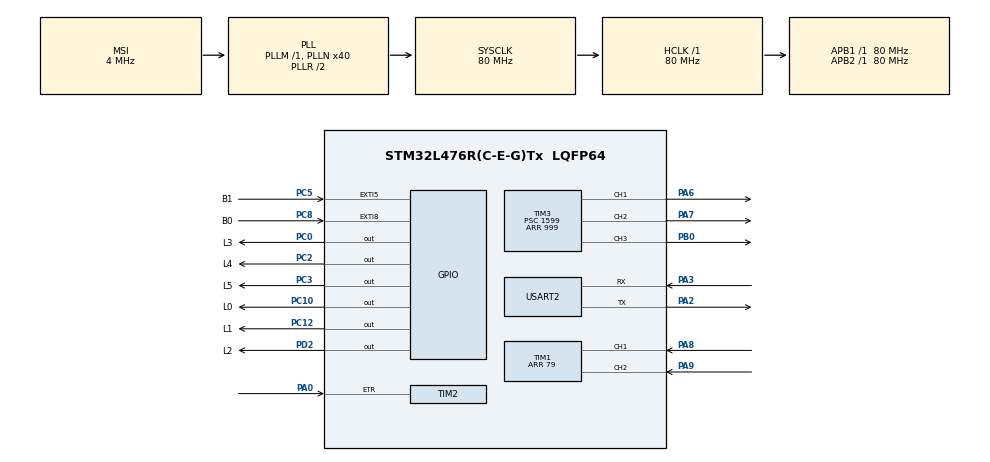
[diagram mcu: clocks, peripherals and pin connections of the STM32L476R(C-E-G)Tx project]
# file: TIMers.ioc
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Mcu.Family=STM32L4
Mcu.Name=STM32L476R(C-E-G)Tx
Mcu.Package=LQFP64
NVIC.EXTI9_5_IRQn=true\:1\:0\:true\:false\:true\:true\:true\:true
NVIC.PriorityGroup=NVIC_PRIORITYGROUP_4
NVIC.TIM6_DAC_IRQn=true\:0\:0\:false\:false\:true\:true\:true\:true
NVIC.USART2_IRQn=true\:1\:0\:true\:false\:true\:true\:true\:true
PA0.Signal=S_TIM2_ETR
PA13\ (JTMS-SWDIO).Mode=Serial_Wire
PA13\ (JTMS-SWDIO).Signal=SYS_JTMS-SWDIO
PA14\ (JTCK-SWCLK).Mode=Serial_Wire
PA14\ (JTCK-SWCLK).Signal=SYS_JTCK-SWCLK
PA2.Mode=Asynchronous
PA2.Signal=USART2_TX
PA3.Mode=Asynchronous
PA3.Signal=USART2_RX
PA6.Signal=S_TIM3_CH1
PA7.Signal=S_TIM3_CH2
PA8.Signal=S_TIM1_CH1
PA9.Signal=S_TIM1_CH2
PB0.Signal=S_TIM3_CH3
PC0.GPIO_Label=L3
PC0.Signal=GPIO_Output
PC10.GPIO_Label=L0
PC10.Signal=GPIO_Output
PC12.GPIO_Label=L1
PC12.Signal=GPIO_Output
PC14-OSC32_IN\ (PC14).Mode=LSE-External-Oscillator
PC14-OSC32_IN\ (PC14).Signal=RCC_OSC32_IN
PC15-OSC32_OUT\ (PC15).Mode=LSE-External-Oscillator
PC15-OSC32_OUT\ (PC15).Signal=RCC_OSC32_OUT
PC2.GPIO_Label=L4
PC2.Signal=GPIO_Output
PC3.GPIO_Label=L5
PC3.Signal=GPIO_Output
PC5.GPIO_Label=B1
PC5.GPIO_PuPd=GPIO_PULLDOWN
PC5.Signal=GPXTI5
PC8.GPIO_Label=B0
PC8.GPIO_ModeDefaultEXTI=GPIO_MODE_IT_FALLING
PC8.GPIO_PuPd=GPIO_PULLUP
PC8.Signal=GPXTI8
PD2.GPIO_Label=L2
PD2.Signal=GPIO_Output
ProjectManager.HeapSize=0x200
ProjectManager.StackSize=0x400
ProjectManager.TargetToolchain=STM32CubeIDE
RCC.AHBFreq_Value=80000000
RCC.APB1Freq_Value=80000000
RCC.APB1TimFreq_Value=80000000
RCC.APB2Freq_Value=80000000
RCC.APB2TimFreq_Value=80000000
RCC.CortexFreq_Value=80000000
RCC.HCLKFreq_Value=80000000
RCC.HSE_VALUE=8000000
RCC.HSI_VALUE=16000000
RCC.MSI_VALUE=4000000
RCC.PLLN=40
RCC.SYSCLKFreq_VALUE=80000000
RCC.SYSCLKSource=RCC_SYSCLKSOURCE_PLLCLK
RCC.VCOOutputFreq_Value=160000000
SH.S_TIM1_CH1.0=TIM1_CH1,Encoder_Interface
SH.S_TIM1_CH2.0=TIM1_CH2,Encoder_Interface
SH.S_TIM2_ETR.0=TIM2_ETR,ClockSourceETR_Mode2
SH.S_TIM3_CH1.0=TIM3_CH1,PWM Generation1 CH1
SH.S_TIM3_CH2.0=TIM3_CH2,PWM Generation2 CH2
SH.S_TIM3_CH3.0=TIM3_CH3,PWM Generation3 CH3
TIM1.EncoderMode=TIM_ENCODERMODE_TI12
TIM1.IC2Polarity=TIM_ICPOLARITY_RISING
TIM1.Period=79
TIM2.ClockFilter=15
TIM3.Channel-PWM\ Generation1\ CH1=TIM_CHANNEL_1
TIM3.Channel-PWM\ Generation2\ CH2=TIM_CHANNEL_2
TIM3.Channel-PWM\ Generation3\ CH3=TIM_CHANNEL_3
TIM3.OCPolarity_1=TIM_OCPOLARITY_LOW
TIM3.OCPolarity_2=TIM_OCPOLARITY_LOW
TIM3.OCPolarity_3=TIM_OCPOLARITY_LOW
TIM3.Period=999
TIM3.Prescaler=1599
TIM3.Pulse-PWM\ Generation1\ CH1=899
TIM3.Pulse-PWM\ Generation2\ CH2=777
TIM3.Pulse-PWM\ Generation3\ CH3=199
TIM6.Period=1599
TIM6.Prescaler=9999
USART2.VirtualMode-Asynchronous=VM_ASYNC
VP_TIM3_VS_ClockSourceINT.Mode=Internal
VP_TIM6_VS_ClockSourceINT.Mode=Enable_Timer
board=custom

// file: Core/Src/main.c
/* USER CODE BEGIN Header */
/**
  ******************************************************************************
  * @file           : main.c
  * @brief          : Main program body
  ******************************************************************************
  * @attention
  *
  * Copyright (c) 2023 STMicroelectronics.
  * All rights reserved.
  *
  * This software is licensed under terms that can be found in the LICENSE file
  * in the root directory of this software component.
  * If no LICENSE file comes with this software, it is provided AS-IS.
  *
  ******************************************************************************
  */
/* USER CODE END Header */
#include "main.h"

/* USER CODE BEGIN Includes */
#include <string.h>
#include <stdio.h>
#include <stdlib.h>
#include <stdint.h>
#include <math.h>

#include "MYLIB_Uart.h"
#include "MYLIB_Gpio.h"
/* USER CODE END Includes */

/* USER CODE BEGIN PD */
struct encoder_t
{
	uint16_t angle;
	uint16_t prev_angle;
	TIM_HandleTypeDef* htim;
};
/* USER CODE END PD */

TIM_HandleTypeDef htim1;
TIM_HandleTypeDef htim2;
TIM_HandleTypeDef htim3;
TIM_HandleTypeDef htim6;

UART_HandleTypeDef huart2;

/* USER CODE BEGIN PV */
volatile struct encoder_t currEncoderT1 = {.angle = 0, .prev_angle = 0, .htim = &htim1};

// MYLIB_Uart
static struct MYLIB_UartInstance MYLIB_uart2;

/* USER CODE END PV */

void SystemClock_Config(void);
static void MX_GPIO_Init(void);
static void MX_USART2_UART_Init(void);
static void MX_TIM3_Init(void);
static void MX_TIM6_Init(void);
static void MX_TIM2_Init(void);
static void MX_TIM1_Init(void);

/* USER CODE BEGIN 0 */
volatile unsigned char RGB_RedFactor = 0;
volatile unsigned char RGB_GreenFactor = 0;
volatile unsigned char RGB_BlueFactor = 0;
volatile unsigned char RGB_Counter = 0;

void RGB_CalcFactors(volatile unsigned char counter, volatile unsigned char* red, volatile unsigned char* green, volatile unsigned char* blue)
{
	*red = 50*(1.0f + sin((float)counter * 3.14/180.0));
	*green = 50*(1.0f + sin(1.0f + (float)counter * 3.14/180.0));
	*blue = 50*(1.0f + sin(2.0f + (float)counter * 3.14/180.0));
}

float RGB_CalcCompare(volatile unsigned char val)
{
	if(val < 70)
		return ((float)val/100.0 * 900.0)/2;
	else
		return ((float)val/100.0 * 900.0);

}

uint16_t t2Counter = 0;
uint16_t prevT2Counter = 0;

/* USER CODE END 0 */

int main(void)
{

  /* MCU Configuration--------------------------------------------------------*/

  /* Reset of all peripherals, Initializes the Flash interface and the Systick. */
  HAL_Init();

  /* Configure the system clock */
  SystemClock_Config();

  /* Initialize all configured peripherals */
  MX_GPIO_Init();
  MX_USART2_UART_Init();
  MX_TIM3_Init();
  MX_TIM6_Init();
  MX_TIM2_Init();
  MX_TIM1_Init();
  /* USER CODE BEGIN 2 */
  // DIODES
  for(int i = 0; i<NO_OF_DIODES; i++)
  {
	MYLIB_GpioDigOut_Set(i);
	HAL_Delay(250);
  }
  HAL_Delay(100);
  MYLIB_GpioDigOut_ResetAll();
  HAL_Delay(100);
  MYLIB_GpioDigOut_SetAll();
  HAL_Delay(150);
  MYLIB_GpioDigOut_ResetAll();
  HAL_Delay(100);
  MYLIB_GpioDigOut_SetAll();
  HAL_Delay(150);
  MYLIB_GpioDigOut_ResetAll();
  HAL_Delay(100);
  MYLIB_GpioDigOut_SetAll();
  HAL_Delay(150);
  MYLIB_GpioDigOut_ResetAll();
  HAL_Delay(100);
  MYLIB_GpioDigOut_Set(0);

  // MYLIB_Uart Code
  MYLIB_UartInstance_Init(&MYLIB_uart2);
  HAL_UART_Receive_IT(&huart2, MYLIB_uart2.rxBuffer + MYLIB_uart2.rxBufferIndex, 1);
  HAL_UART_Transmit_IT(&huart2, (unsigned char*)"Hello World!\r\n", strlen("Hello World!\r\n"));

  // TIM1
  HAL_TIM_IC_Start(&htim1, TIM_CHANNEL_1);
  HAL_TIM_IC_Start(&htim1, TIM_CHANNEL_2);

  // init TIM6
  __HAL_TIM_SET_COUNTER(&htim6, 0);
  HAL_TIM_Base_Start_IT(&htim6);

  // init TIM3
  __HAL_TIM_SET_COUNTER(&htim3, 0);
  HAL_TIM_Base_Start(&htim3);
  HAL_TIM_PWM_Start(&htim3, TIM_CHANNEL_1);
  HAL_TIM_PWM_Start(&htim3, TIM_CHANNEL_2);
  HAL_TIM_PWM_Start(&htim3, TIM_CHANNEL_3);

  // init TIM2
  HAL_TIM_Base_Start(&htim2);

  /* USER CODE END 2 */

  /* Infinite loop */
  while (1)
  {

    /* USER CODE BEGIN 3 */
	  t2Counter = __HAL_TIM_GET_COUNTER(&htim2);
	  if(t2Counter != prevT2Counter)
	  {
		  prevT2Counter = t2Counter;
		  char line[8];
		  sprintf(line, "%d\0", t2Counter);
		  MYLIB_Uart_MoveToTransmitter(&huart2, &MYLIB_uart2, line, strlen(line));
	  }

	// check UART2 receive flag
	if(MYLIB_uart2.rxMessageRecieved == 1)
	{
		// send data
		HAL_UART_Transmit_IT(&huart2, MYLIB_uart2.txBuffer, strlen(MYLIB_uart2.txBuffer));
		// reset flag
		MYLIB_uart2.rxMessageRecieved = 0;
	}

	// check UART2 transmit flag
	if(MYLIB_uart2.txTransferMessage == 1)
	{
		// send data
		HAL_UART_Transmit_IT(&huart2, MYLIB_uart2.txBuffer, strlen(MYLIB_uart2.txBuffer));
		// reset flag
		MYLIB_uart2.txTransferMessage = 0;
	}

	// diode mark change
	if(MYLIB_Gpio_GetDiodeMarkChange() == 1)
	{
		MYLIB_GpioDigOut_ResetAll();
		MYLIB_GpioDigOut_Set(MYLIB_Gpio_GetDiodeMark());

		MYLIB_Gpio_SetDiodeMarkChange(0);
	}

  }
  /* USER CODE END 3 */
}

void SystemClock_Config(void)
{
  RCC_OscInitTypeDef RCC_OscInitStruct = {0};
  RCC_ClkInitTypeDef RCC_ClkInitStruct = {0};

  /** Configure the main internal regulator output voltage
  */
  if (HAL_PWREx_ControlVoltageScaling(PWR_REGULATOR_VOLTAGE_SCALE1) != HAL_OK)
  {
    Error_Handler();
  }

  /** Configure LSE Drive Capability
  */
  HAL_PWR_EnableBkUpAccess();
  __HAL_RCC_LSEDRIVE_CONFIG(RCC_LSEDRIVE_LOW);

  /** Initializes the RCC Oscillators according to the specified parameters
  * in the RCC_OscInitTypeDef structure.
  */
  RCC_OscInitStruct.OscillatorType = RCC_OSCILLATORTYPE_LSE|RCC_OSCILLATORTYPE_MSI;
  RCC_OscInitStruct.LSEState = RCC_LSE_ON;
  RCC_OscInitStruct.MSIState = RCC_MSI_ON;
  RCC_OscInitStruct.MSICalibrationValue = 0;
  RCC_OscInitStruct.MSIClockRange = RCC_MSIRANGE_6;
  RCC_OscInitStruct.PLL.PLLState = RCC_PLL_ON;
  RCC_OscInitStruct.PLL.PLLSource = RCC_PLLSOURCE_MSI;
  RCC_OscInitStruct.PLL.PLLM = 1;
  RCC_OscInitStruct.PLL.PLLN = 40;
  RCC_OscInitStruct.PLL.PLLP = RCC_PLLP_DIV7;
  RCC_OscInitStruct.PLL.PLLQ = RCC_PLLQ_DIV2;
  RCC_OscInitStruct.PLL.PLLR = RCC_PLLR_DIV2;
  if (HAL_RCC_OscConfig(&RCC_OscInitStruct) != HAL_OK)
  {
    Error_Handler();
  }

  /** Initializes the CPU, AHB and APB buses clocks
  */
  RCC_ClkInitStruct.ClockType = RCC_CLOCKTYPE_HCLK|RCC_CLOCKTYPE_SYSCLK
                              |RCC_CLOCKTYPE_PCLK1|RCC_CLOCKTYPE_PCLK2;
  RCC_ClkInitStruct.SYSCLKSource = RCC_SYSCLKSOURCE_PLLCLK;
  RCC_ClkInitStruct.AHBCLKDivider = RCC_SYSCLK_DIV1;
  RCC_ClkInitStruct.APB1CLKDivider = RCC_HCLK_DIV1;
  RCC_ClkInitStruct.APB2CLKDivider = RCC_HCLK_DIV1;

  if (HAL_RCC_ClockConfig(&RCC_ClkInitStruct, FLASH_LATENCY_4) != HAL_OK)
  {
    Error_Handler();
  }

  /** Enable MSI Auto calibration
  */
  HAL_RCCEx_EnableMSIPLLMode();
}

static void MX_TIM1_Init(void)
{

  TIM_Encoder_InitTypeDef sConfig = {0};
  TIM_MasterConfigTypeDef sMasterConfig = {0};

  htim1.Instance = TIM1;
  htim1.Init.Prescaler = 0;
  htim1.Init.CounterMode = TIM_COUNTERMODE_UP;
  htim1.Init.Period = 79;
  htim1.Init.ClockDivision = TIM_CLOCKDIVISION_DIV1;
  htim1.Init.RepetitionCounter = 0;
  htim1.Init.AutoReloadPreload = TIM_AUTORELOAD_PRELOAD_DISABLE;
  sConfig.EncoderMode = TIM_ENCODERMODE_TI12;
  sConfig.IC1Polarity = TIM_ICPOLARITY_RISING;
  sConfig.IC1Selection = TIM_ICSELECTION_DIRECTTI;
  sConfig.IC1Prescaler = TIM_ICPSC_DIV1;
  sConfig.IC1Filter = 0;
  sConfig.IC2Polarity = TIM_ICPOLARITY_RISING;
  sConfig.IC2Selection = TIM_ICSELECTION_DIRECTTI;
  sConfig.IC2Prescaler = TIM_ICPSC_DIV1;
  sConfig.IC2Filter = 0;
  if (HAL_TIM_Encoder_Init(&htim1, &sConfig) != HAL_OK)
  {
    Error_Handler();
  }
  sMasterConfig.MasterOutputTrigger = TIM_TRGO_RESET;
  sMasterConfig.MasterOutputTrigger2 = TIM_TRGO2_RESET;
  sMasterConfig.MasterSlaveMode = TIM_MASTERSLAVEMODE_DISABLE;
  if (HAL_TIMEx_MasterConfigSynchronization(&htim1, &sMasterConfig) != HAL_OK)
  {
    Error_Handler();
  }

}

static void MX_TIM2_Init(void)
{

  TIM_ClockConfigTypeDef sClockSourceConfig = {0};
  TIM_MasterConfigTypeDef sMasterConfig = {0};

  htim2.Instance = TIM2;
  htim2.Init.Prescaler = 0;
  htim2.Init.CounterMode = TIM_COUNTERMODE_UP;
  htim2.Init.Period = 4294967295;
  htim2.Init.ClockDivision = TIM_CLOCKDIVISION_DIV1;
  htim2.Init.AutoReloadPreload = TIM_AUTORELOAD_PRELOAD_DISABLE;
  if (HAL_TIM_Base_Init(&htim2) != HAL_OK)
  {
    Error_Handler();
  }
  sClockSourceConfig.ClockSource = TIM_CLOCKSOURCE_ETRMODE2;
  sClockSourceConfig.ClockPolarity = TIM_CLOCKPOLARITY_NONINVERTED;
  sClockSourceConfig.ClockPrescaler = TIM_CLOCKPRESCALER_DIV1;
  sClockSourceConfig.ClockFilter = 15;
  if (HAL_TIM_ConfigClockSource(&htim2, &sClockSourceConfig) != HAL_OK)
  {
    Error_Handler();
  }
  sMasterConfig.MasterOutputTrigger = TIM_TRGO_RESET;
  sMasterConfig.MasterSlaveMode = TIM_MASTERSLAVEMODE_DISABLE;
  if (HAL_TIMEx_MasterConfigSynchronization(&htim2, &sMasterConfig) != HAL_OK)
  {
    Error_Handler();
  }

}

static void MX_TIM3_Init(void)
{

  TIM_ClockConfigTypeDef sClockSourceConfig = {0};
  TIM_MasterConfigTypeDef sMasterConfig = {0};
  TIM_OC_InitTypeDef sConfigOC = {0};

  htim3.Instance = TIM3;
  htim3.Init.Prescaler = 1599;
  htim3.Init.CounterMode = TIM_COUNTERMODE_UP;
  htim3.Init.Period = 999;
  htim3.Init.ClockDivision = TIM_CLOCKDIVISION_DIV1;
  htim3.Init.AutoReloadPreload = TIM_AUTORELOAD_PRELOAD_DISABLE;
  if (HAL_TIM_Base_Init(&htim3) != HAL_OK)
  {
    Error_Handler();
  }
  sClockSourceConfig.ClockSource = TIM_CLOCKSOURCE_INTERNAL;
  if (HAL_TIM_ConfigClockSource(&htim3, &sClockSourceConfig) != HAL_OK)
  {
    Error_Handler();
  }
  if (HAL_TIM_PWM_Init(&htim3) != HAL_OK)
  {
    Error_Handler();
  }
  sMasterConfig.MasterOutputTrigger = TIM_TRGO_RESET;
  sMasterConfig.MasterSlaveMode = TIM_MASTERSLAVEMODE_DISABLE;
  if (HAL_TIMEx_MasterConfigSynchronization(&htim3, &sMasterConfig) != HAL_OK)
  {
    Error_Handler();
  }
  sConfigOC.OCMode = TIM_OCMODE_PWM1;
  sConfigOC.Pulse = 899;
  sConfigOC.OCPolarity = TIM_OCPOLARITY_LOW;
  sConfigOC.OCFastMode = TIM_OCFAST_DISABLE;
  if (HAL_TIM_PWM_ConfigChannel(&htim3, &sConfigOC, TIM_CHANNEL_1) != HAL_OK)
  {
    Error_Handler();
  }
  sConfigOC.Pulse = 777;
  if (HAL_TIM_PWM_ConfigChannel(&htim3, &sConfigOC, TIM_CHANNEL_2) != HAL_OK)
  {
    Error_Handler();
  }
  sConfigOC.Pulse = 199;
  if (HAL_TIM_PWM_ConfigChannel(&htim3, &sConfigOC, TIM_CHANNEL_3) != HAL_OK)
  {
    Error_Handler();
  }
  HAL_TIM_MspPostInit(&htim3);

}

static void MX_TIM6_Init(void)
{

  TIM_MasterConfigTypeDef sMasterConfig = {0};

  htim6.Instance = TIM6;
  htim6.Init.Prescaler = 9999;
  htim6.Init.CounterMode = TIM_COUNTERMODE_UP;
  htim6.Init.Period = 1599;
  htim6.Init.AutoReloadPreload = TIM_AUTORELOAD_PRELOAD_DISABLE;
  if (HAL_TIM_Base_Init(&htim6) != HAL_OK)
  {
    Error_Handler();
  }
  sMasterConfig.MasterOutputTrigger = TIM_TRGO_RESET;
  sMasterConfig.MasterSlaveMode = TIM_MASTERSLAVEMODE_DISABLE;
  if (HAL_TIMEx_MasterConfigSynchronization(&htim6, &sMasterConfig) != HAL_OK)
  {
    Error_Handler();
  }

}

static void MX_USART2_UART_Init(void)
{

  huart2.Instance = USART2;
  huart2.Init.BaudRate = 115200;
  huart2.Init.WordLength = UART_WORDLENGTH_8B;
  huart2.Init.StopBits = UART_STOPBITS_1;
  huart2.Init.Parity = UART_PARITY_NONE;
  huart2.Init.Mode = UART_MODE_TX_RX;
  huart2.Init.HwFlowCtl = UART_HWCONTROL_NONE;
  huart2.Init.OverSampling = UART_OVERSAMPLING_16;
  huart2.Init.OneBitSampling = UART_ONE_BIT_SAMPLE_DISABLE;
  huart2.AdvancedInit.AdvFeatureInit = UART_ADVFEATURE_NO_INIT;
  if (HAL_UART_Init(&huart2) != HAL_OK)
  {
    Error_Handler();
  }

}

static void MX_GPIO_Init(void)
{
  GPIO_InitTypeDef GPIO_InitStruct = {0};

  /* GPIO Ports Clock Enable */
  __HAL_RCC_GPIOC_CLK_ENABLE();
  __HAL_RCC_GPIOA_CLK_ENABLE();
  __HAL_RCC_GPIOB_CLK_ENABLE();
  __HAL_RCC_GPIOD_CLK_ENABLE();

  /*Configure GPIO pin Output Level */
  HAL_GPIO_WritePin(GPIOC, L3_Pin|L4_Pin|L5_Pin|L0_Pin
                          |L1_Pin, GPIO_PIN_RESET);

  /*Configure GPIO pin Output Level */
  HAL_GPIO_WritePin(L2_GPIO_Port, L2_Pin, GPIO_PIN_RESET);

  /*Configure GPIO pins : L3_Pin L4_Pin L5_Pin L0_Pin
                           L1_Pin */
  GPIO_InitStruct.Pin = L3_Pin|L4_Pin|L5_Pin|L0_Pin
                          |L1_Pin;
  GPIO_InitStruct.Mode = GPIO_MODE_OUTPUT_PP;
  GPIO_InitStruct.Pull = GPIO_NOPULL;
  GPIO_InitStruct.Speed = GPIO_SPEED_FREQ_LOW;
  HAL_GPIO_Init(GPIOC, &GPIO_InitStruct);

  /*Configure GPIO pin : B1_Pin */
  GPIO_InitStruct.Pin = B1_Pin;
  GPIO_InitStruct.Mode = GPIO_MODE_IT_RISING;
  GPIO_InitStruct.Pull = GPIO_PULLDOWN;
  HAL_GPIO_Init(B1_GPIO_Port, &GPIO_InitStruct);

  /*Configure GPIO pin : B0_Pin */
  GPIO_InitStruct.Pin = B0_Pin;
  GPIO_InitStruct.Mode = GPIO_MODE_IT_FALLING;
  GPIO_InitStruct.Pull = GPIO_PULLUP;
  HAL_GPIO_Init(B0_GPIO_Port, &GPIO_InitStruct);

  /*Configure GPIO pin : L2_Pin */
  GPIO_InitStruct.Pin = L2_Pin;
  GPIO_InitStruct.Mode = GPIO_MODE_OUTPUT_PP;
  GPIO_InitStruct.Pull = GPIO_NOPULL;
  GPIO_InitStruct.Speed = GPIO_SPEED_FREQ_LOW;
  HAL_GPIO_Init(L2_GPIO_Port, &GPIO_InitStruct);

  /* EXTI interrupt init*/
  HAL_NVIC_SetPriority(EXTI9_5_IRQn, 1, 0);
  HAL_NVIC_EnableIRQ(EXTI9_5_IRQn);

}

/* USER CODE BEGIN 4 */

void HAL_GPIO_EXTI_Callback(uint16_t GPIO_Pin)
{
	unsigned char diodeM = MYLIB_Gpio_GetDiodeMark();
  if (GPIO_Pin == B1_Pin)
  {
	  // up
	  if(diodeM < NO_OF_DIODES-1)
	  {
		  MYLIB_Gpio_SetDiodeMark(diodeM + 1);
	  }
	  else
	  {
		  MYLIB_Gpio_SetDiodeMark(0);
	  }

	  MYLIB_Gpio_SetDiodeMarkChange(1);
  }
  else if (GPIO_Pin == B0_Pin)
  {

  }

}

void HAL_UART_RxCpltCallback(UART_HandleTypeDef* uart)
{
	// check UART instance
	if(uart->Instance == USART2)
	{
		MYLIB_Uart_Resend(&huart2, &MYLIB_uart2); // call a callback function
		HAL_UART_Receive_IT(&huart2, MYLIB_uart2.rxBuffer + MYLIB_uart2.rxBufferIndex, 1); // set UART Receiver
	}
}

void HAL_UART_TxCpltCallback(UART_HandleTypeDef* uart)
{
	// check UART instance
	if(uart->Instance == USART2)
	{
		for(int i = 0; i < MYLIB_uart2.txBufferSize; i++)
		{
			MYLIB_uart2.txBuffer[i] = '\0';
		}
		MYLIB_uart2.txBufferSize = 0;
	}
}

void HAL_TIM_PeriodElapsedCallback(TIM_HandleTypeDef *htim)
{

	if(htim == &htim3)
	{
		//MYLIB_GpioDigOut_Set(1);
		MYLIB_GpioDigOut_Toggle(2);
		//MYLIB_GpioDigOut_Set(3);
	}

	if(htim == &htim6)
	{
		/*
		RGB_Counter = (RGB_Counter + 10) % 250;

		RGB_CalcFactors(RGB_Counter, &RGB_RedFactor, &RGB_GreenFactor, &RGB_BlueFactor);

		__HAL_TIM_SET_COMPARE(&htim3, TIM_CHANNEL_1, RGB_CalcCompare(RGB_RedFactor));
		__HAL_TIM_SET_COMPARE(&htim3, TIM_CHANNEL_2, RGB_CalcCompare(RGB_GreenFactor));
		__HAL_TIM_SET_COMPARE(&htim3, TIM_CHANNEL_3, RGB_CalcCompare(RGB_BlueFactor));
		*/

		currEncoderT1.prev_angle = currEncoderT1.angle;
		currEncoderT1.angle = (uint16_t)__HAL_TIM_GET_COUNTER(&htim1)*(uint16_t)360/(uint16_t)(__HAL_TIM_GET_AUTORELOAD(&htim1)+1);

		if(currEncoderT1.prev_angle != currEncoderT1.angle)
		{
			char local_str[32] = {0};
			uint16_t local_enc_angle = currEncoderT1.angle;
			sprintf(local_str, "%s%d%s", "Encoder 1 angle = ", local_enc_angle, " deg\r\n\0");

			// move line to transmitter
			MYLIB_Uart_MoveToTransmitter(&huart2, &MYLIB_uart2, local_str, strlen(local_str));
			//strncpy(uart->txBuffer, local_str, strlen(local_str));
			//uart->txBufferSize = strlen(local_str);

		}
	}
}

void HAL_TIM_OC_DelayElapsedCallback(TIM_HandleTypeDef *htim)
{
  if (htim == &htim3) {
	  /*
    switch (HAL_TIM_GetActiveChannel(&htim3)) {
    case HAL_TIM_ACTIVE_CHANNEL_1:
    	MYLIB_GpioDigOut_Toggle(1);
      break;
    case HAL_TIM_ACTIVE_CHANNEL_2:
    	MYLIB_GpioDigOut_Toggle(2);
      break;
    case HAL_TIM_ACTIVE_CHANNEL_3:
    	MYLIB_GpioDigOut_Toggle(3);
      break;
    default:
      break;

    }*/
  }
}

/* USER CODE END 4 */

void Error_Handler(void)
{
  __disable_irq();
  while (1)
  {
  }
}
